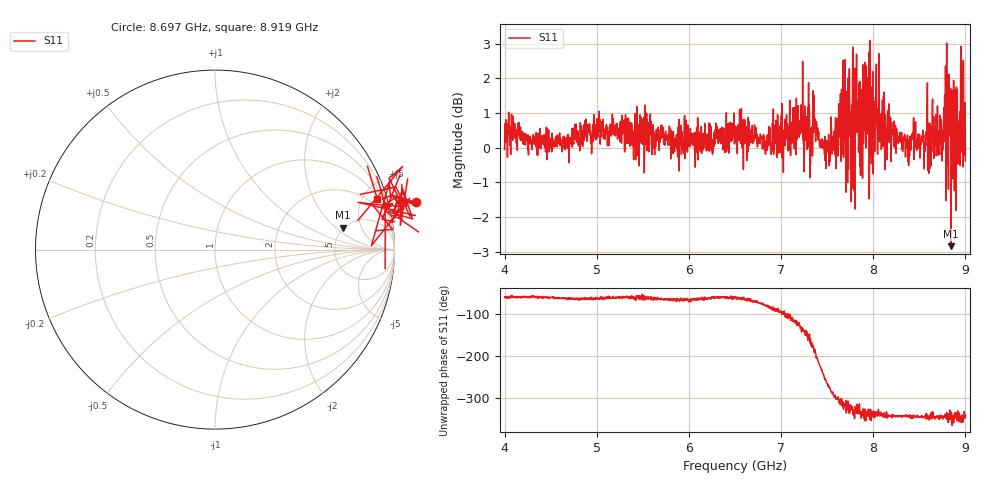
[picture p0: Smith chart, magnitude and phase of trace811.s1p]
! Created with skrf 1.8.0 (http://scikit-rf.org).
# Hz S RI R 50.0
!freq ReS11 ImS11
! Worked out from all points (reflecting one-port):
!   1601 points, 4 GHz to 9 GHz, reference 50 ohm
!   lowest |S11| = -2.8 dB at 8.844 GHz (marker M1), VSWR 6.18, Z = 243 + j125 ohm
!   phase of S11 starts at -61 deg and turns -280 deg over the sweep
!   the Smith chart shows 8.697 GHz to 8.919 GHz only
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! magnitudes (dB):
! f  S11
! 4 GHz  0.0
! 4.094 GHz  0.6
! 4.625 GHz  -0.1
! 5.25 GHz  0.2
! 5.875 GHz  0.2
! 6.5 GHz  0.5
! 6.819 GHz  0.3
! 7.125 GHz  0.3
! 7.262 GHz  0.6
! 7.281 GHz  0.0
! 7.328 GHz  0.1
! 7.372 GHz  0.7
! 7.503 GHz  -0.1
! 7.669 GHz  1.3
! 7.75 GHz  0.9
! 7.775 GHz  1.7
! 7.828 GHz  0.9
! 7.875 GHz  1.0
! 7.928 GHz  1.1
! 7.981 GHz  -0.5
! 8.05 GHz  1.1
! 8.375 GHz  0.0
! 8.728 GHz  0.1
! 8.784 GHz  2.4
! 8.844 GHz  -2.8
! 8.869 GHz  -0.8
! 8.972 GHz  0.5
! 9 GHz  -0.4
